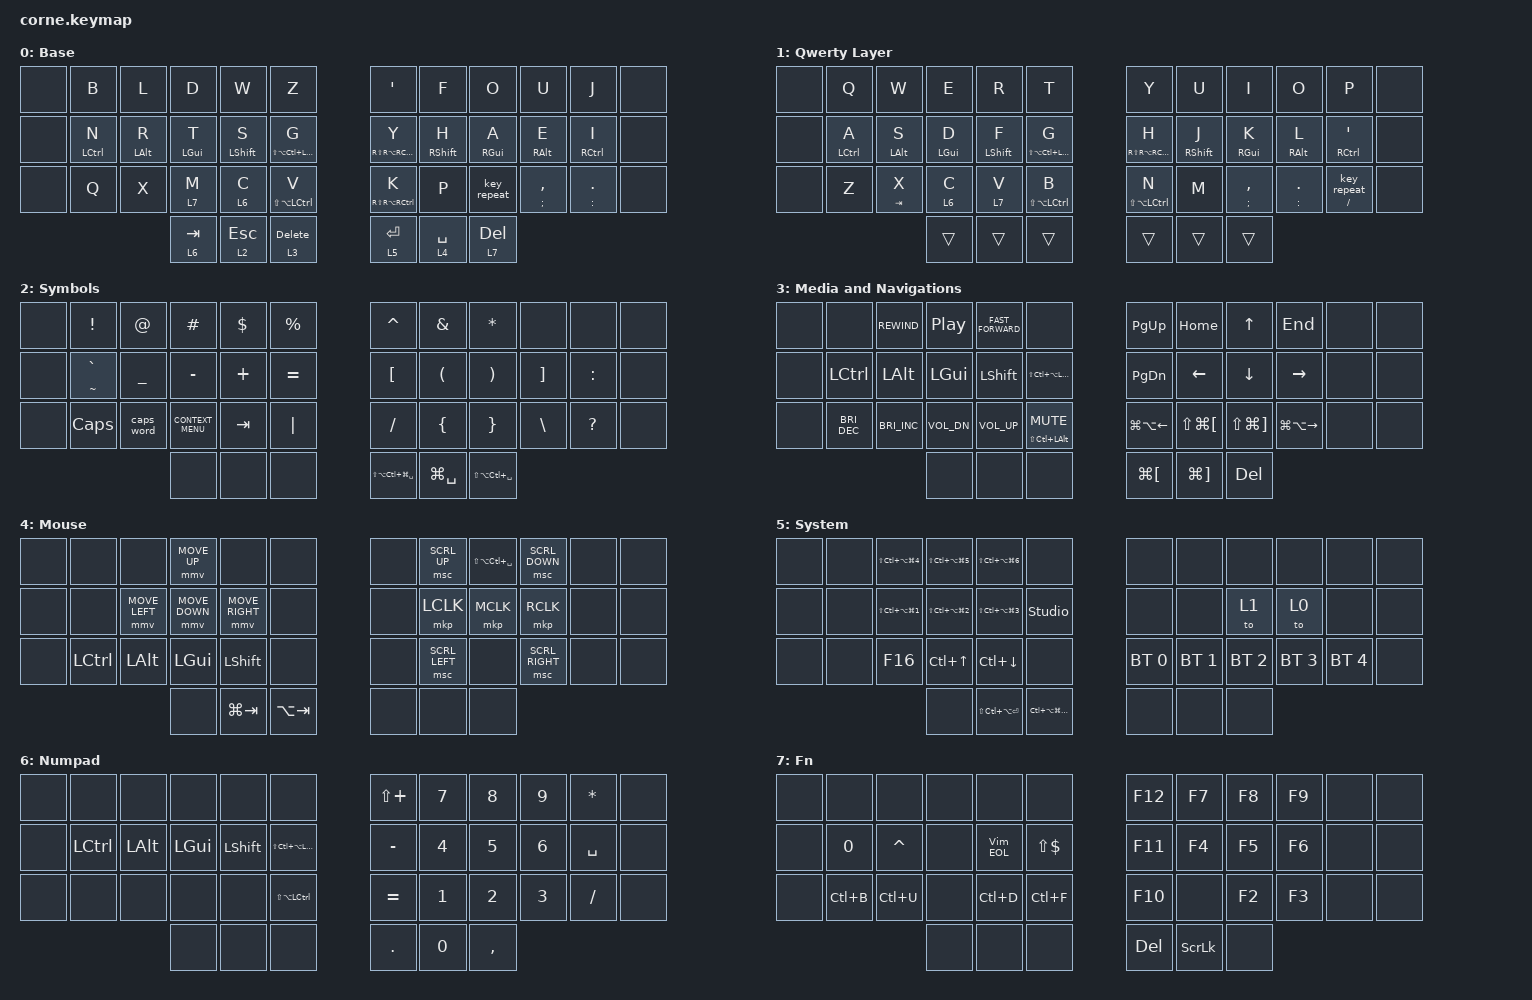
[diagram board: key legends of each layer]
#include <behaviors.dtsi>
#include <dt-bindings/zmk/bt.h>
#include <dt-bindings/zmk/keys.h>
#include <dt-bindings/zmk/pointing.h>
#include <dt-bindings/zmk/pointing.h>
#include <dt-bindings/zmk/pointing.h>

#define DEF 0
#define NAV 1
#define SYM 2
#define ADJ 3

//testing mouse movement and scroll binds...

&mmv {
    trigger-period-ms = <10>;
    delay-ms = <0>;
};

/ {
    behaviors {
        hm: homerow_mods {
            compatible = "zmk,behavior-hold-tap";
            label = "HOMEROW_MODS";
            #binding-cells = <2>;
            tapping-term-ms = <200>;
            quick_tap_ms = <0>;
            flavor = "tap-preferred";
            bindings = <&kp>, <&kp>;

            quick-tap-ms = <180>;
            global-quick-tap;
        };

        para: para {
            compatible = "zmk,behavior-tap-dance";
            label = "PARA";
            #binding-cells = <0>;
            bindings = <&kp LEFT_PARENTHESIS>, <&kp RIGHT_PARENTHESIS>;
        };

        caps: caps {
            compatible = "zmk,behavior-caps-word";
            label = "CAPS";
            #binding-cells = <0>;
            continue-list = <MINUS BACKSPACE>;
        };

        paraless: paraless {
            compatible = "zmk,behavior-mod-morph";
            label = "PARALESS";
            bindings = <&kp LEFT_PARENTHESIS>, <&kp LESS_THAN>;

            #binding-cells = <0>;
            mods = <(MOD_LSFT)>;
        };

        paragreat: paragreat {
            compatible = "zmk,behavior-mod-morph";
            label = "PARAGREAT";
            bindings = <&kp RIGHT_PARENTHESIS>, <&kp GREATER_THAN>;

            #binding-cells = <0>;
            mods = <(MOD_LSFT)>;
        };

        Repeat_Tap: Repeat_Tap {
            compatible = "zmk,behavior-hold-tap";
            label = "REPEAT_TAP";
            bindings = <&kp>, <&key_repeat>;

            #binding-cells = <2>;
            tapping-term-ms = <200>;
            flavor = "tap-preferred";
        };

        Repeat_Layer: Repeat_Layer {
            compatible = "zmk,behavior-hold-tap";
            label = "REPEAT_LAYER";
            bindings = <&mo>, <&key_repeat>;

            #binding-cells = <2>;
            tapping-term-ms = <160>;
            flavor = "tap-preferred";
        };

        Delete: Delete {
            compatible = "zmk,behavior-mod-morph";
            label = "DELETE";
            bindings = <&kp BACKSPACE>, <&kp DELETE>;

            #binding-cells = <0>;
            mods = <(MOD_RSFT)>;
        };

        Delete_Layer: Delete_Layer {
            compatible = "zmk,behavior-hold-tap";
            label = "DELETE_LAYER";
            bindings = <&mo>, <&Delete>;

            #binding-cells = <2>;
            tapping-term-ms = <160>;
        };
    };

    combos {
        compatible = "zmk,combos";

        Tab {
            bindings = <&kp TAB>;
            key-positions = <26 27>;
            layers = <0 1>;
        };

        Enter {
            bindings = <&key_repeat>;
            key-positions = <33 32>;
            layers = <1 0>;
        };
    };

    //

    macros {
        Vim_EOL: Vim_EOL {
            compatible = "zmk,behavior-macro";
            #binding-cells = <0>;
            bindings = <&kp UNDER &kp G>;
            label = "VIM_EOL";
        };
    };

    keymap {
        compatible = "zmk,keymap";

        DEF {
            display-name = "Base";

            // -----------------------------------------------------------------------------------------
            // |  Q  |  W  |  E  |  R  |  T  |   |  Y  |  U   |  I  |  O  |  P  |
            // |  A  |  S  |  D  |  F  |  G  |   |  H  |  J   |  K  |  L  |  ;  |
            // |  Z  |  X  |  C  |  V  |  B  |   |  N  |  M   |  ,  |  .  |  /  |
            // | GUI | CTRL | SHFT | LWR | SPC |   | ENT | RSE  | BKSP | ALT | ESC |

            bindings = <
&none  &kp B               &kp L           &kp D           &kp W             &kp Z                         &kp SINGLE_QUOTE             &kp F              &kp O            &kp U            &kp J                &none
&none  &hm LEFT_CONTROL N  &hm LEFT_ALT R  &hm LEFT_GUI T  &hm LEFT_SHIFT S  &hm LS(LA(LC(LEFT_GUI))) G    &hm RS(RA(RC(RIGHT_GUI))) Y  &hm RIGHT_SHIFT H  &hm RIGHT_GUI A  &hm RIGHT_ALT E  &hm RIGHT_CONTROL I  &none
&none  &kp Q               &kp X           &lt 7 M         &lt 6 C           &hm LS(LA(LEFT_CONTROL)) V    &hm RS(RA(RIGHT_CONTROL)) K  &kp P              &key_repeat      &hm SEMI COMMA   &hm COLON PERIOD     &none
                                           &lt 6 TAB       &lt 2 ESCAPE      &Delete_Layer 3 0             &lt 5 ENTER                  &lt 4 SPACE        &lt 7 DELETE
            >;
        };

        Qwerty {
            display-name = "Qwerty Layer";
            bindings = <
&none  &kp Q               &kp W           &kp E           &kp R             &kp T                         &kp Y                        &kp U              &kp I            &kp O            &kp P                           &none
&none  &hm LEFT_CONTROL A  &hm LEFT_ALT S  &hm LEFT_GUI D  &hm LEFT_SHIFT F  &hm LS(LA(LC(LEFT_GUI))) G    &hm RS(RA(RC(RIGHT_GUI))) H  &hm RIGHT_SHIFT J  &hm RIGHT_GUI K  &hm RIGHT_ALT L  &hm RIGHT_CONTROL SINGLE_QUOTE  &none
&none  &kp Z               &hm TAB X       &lt 6 C         &lt 7 V           &hm LS(LA(LEFT_CONTROL)) B    &hm LS(LA(LEFT_CONTROL)) N   &kp M              &hm SEMI COMMA   &hm COLON DOT    &Repeat_Tap SLASH 0             &none
                                           &trans          &trans            &trans                        &trans                       &trans             &trans
            >;
        };

        Symbols {
            display-name = "Symbols";

            // -----------------------------------------------------------------------------------------
            // |  TAB |  1  |  2  |  3  |  4  |  5  |   |  6  |  7  |  8  |  9  |  0  | BKSP |
            // | BTCLR| BT1 | BT2 | BT3 | BT4 | BT5 |   | LFT | DWN |  UP | RGT |     |      |
            // | SHFT |     |     |     |     |     |   |     |     |     |     |     |      |
            // | GUI | CTRL | SHFT | LWR | SPC |   | ENT | RSE  | BKSP | ALT | ESC |

            bindings = <
&none  &kp EXCL         &kp AT      &kp HASH            &kp DOLLAR  &kp PERCENT    &kp CARET                  &kp AMPS              &kp ASTRK              &none     &none         &none
&none  &mt TILDE GRAVE  &kp UNDER   &kp MINUS           &kp PLUS    &kp EQUAL      &kp LBKT                   &kp LEFT_PARENTHESIS  &kp RIGHT_PARENTHESIS  &kp RBKT  &kp COLON     &none
&none  &kp CAPSLOCK     &caps_word  &kp K_CONTEXT_MENU  &kp TAB     &kp PIPE       &kp FSLH                   &kp LEFT_BRACE        &kp RIGHT_BRACE        &kp BSLH  &kp QUESTION  &none
                                    &none               &none       &none          &kp LS(LA(LC(LG(SPACE))))  &kp LG(SPACE)         &kp LS(LA(LC(SPACE)))
            >;
        };

        Media {
            bindings = <
&none  &none                 &kp C_REWIND          &kp C_PLAY_PAUSE  &kp C_FAST_FORWARD  &none                      &kp PAGE_UP           &kp HOME               &kp UP            &kp END            &none  &none
&none  &kp LEFT_CONTROL      &kp LALT              &kp LGUI          &kp LSHFT           &kp LS(LC(LA(LGUI)))       &kp PAGE_DOWN         &kp LEFT               &kp DOWN          &kp RIGHT          &none  &none
&none  &kp C_BRIGHTNESS_DEC  &kp C_BRIGHTNESS_INC  &kp C_VOL_DN      &kp C_VOLUME_UP     &mt LS(LC(LALT)) C_MUTE    &kp LG(LA(LEFT))      &kp LS(LG(LBKT))       &kp LS(LG(RBKT))  &kp LG(LA(RIGHT))  &none  &none
                                                   &none             &none               &none                      &kp LG(LEFT_BRACKET)  &kp LG(RIGHT_BRACKET)  &kp DELETE
            >;

            label = "Media and Navigations";
        };

        Mouse {
            bindings = <
&none  &none      &none           &mmv MOVE_UP    &none            &none          &none  &msc SCRL_UP    &kp LS(LA(LC(SPACE)))  &msc SCRL_DOWN   &none  &none
&none  &none      &mmv MOVE_LEFT  &mmv MOVE_DOWN  &mmv MOVE_RIGHT  &none          &none  &mkp LCLK       &mkp MCLK              &mkp RCLK        &none  &none
&none  &kp LCTRL  &kp LALT        &kp LGUI        &kp LSHFT        &none          &none  &msc SCRL_LEFT  &none                  &msc SCRL_RIGHT  &none  &none
                                  &none           &kp LG(TAB)      &kp LA(TAB)    &none  &none           &none
            >;
        };

        Sys {
            display-name = "System";
            bindings = <
&none  &none  &kp LS(LC(LA(LG(N4))))  &kp LS(LC(LA(LG(N5))))  &kp LS(LC(LA(LG(N6))))  &none                      &none         &none         &none         &none         &none         &none
&none  &none  &kp LS(LC(LA(LG(N1))))  &kp LS(LC(LA(LG(N2))))  &kp LS(LC(LA(LG(N3))))  &studio_unlock             &none         &none         &to 1         &to 0         &none         &none
&none  &none  &kp F16                 &kp LC(UP)              &kp LC(DOWN)            &none                      &bt BT_SEL 0  &bt BT_SEL 1  &bt BT_SEL 2  &bt BT_SEL 3  &bt BT_SEL 4  &none
                                      &none                   &kp LS(LC(LA(RET)))     &kp LC(LA(LG(LS(RET))))    &none         &none         &none
            >;
        };

        Numpad {
            bindings = <
&none  &none      &none     &none     &none      &none                       &kp LS(PLUS)  &kp N7  &kp N8     &kp N9  &kp ASTERISK  &none
&none  &kp LCTRL  &kp LALT  &kp LGUI  &kp LSHFT  &kp LS(LC(LA(LEFT_GUI)))    &kp MINUS     &kp N4  &kp N5     &kp N6  &kp SPACE     &none
&none  &none      &none     &none     &none      &kp LS(LA(LEFT_CONTROL))    &kp EQUAL     &kp N1  &kp N2     &kp N3  &kp FSLH      &none
                            &none     &none      &none                       &kp DOT       &kp N0  &kp COMMA
            >;
        };

        Fn {
            bindings = <
&none  &none      &none      &none  &none      &none           &kp F12     &kp F7          &kp F8  &kp F9  &none  &none
&none  &kp N0     &kp CARET  &none  &Vim_EOL   &kp LS(DLLR)    &kp F11     &kp F4          &kp F5  &kp F6  &none  &none
&none  &kp LC(B)  &kp LC(U)  &none  &kp LC(D)  &kp LC(F)       &kp F10     &none           &kp F2  &kp F3  &none  &none
                             &none  &none      &none           &kp DELETE  &kp SCROLLLOCK  &none
            >;
        };
    };

    conditional_layers { compatible = "zmk,conditional-layers"; };
};
